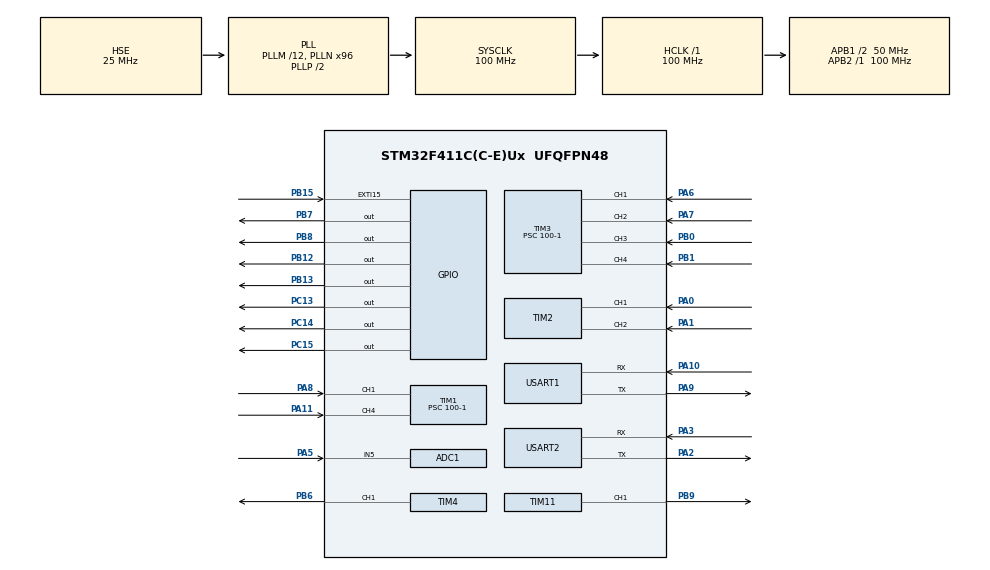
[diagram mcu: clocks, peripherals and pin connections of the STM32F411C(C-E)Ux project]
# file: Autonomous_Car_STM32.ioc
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ADC1.Channel-0\#ChannelRegularConversion=ADC_CHANNEL_5
ADC1.NbrOfConversion=1
ADC1.NbrOfConversionFlag=1
ADC1.Rank-0\#ChannelRegularConversion=1
ADC1.SamplingTime-0\#ChannelRegularConversion=ADC_SAMPLETIME_3CYCLES
ADC1.ScanConvMode=DISABLE
ADC1.master=1
Dma.Request0=USART1_RX
Dma.USART1_RX.0.Direction=DMA_PERIPH_TO_MEMORY
Dma.USART1_RX.0.FIFOMode=DMA_FIFOMODE_DISABLE
Dma.USART1_RX.0.Instance=DMA2_Stream2
Dma.USART1_RX.0.MemDataAlignment=DMA_MDATAALIGN_BYTE
Dma.USART1_RX.0.MemInc=DMA_MINC_ENABLE
Dma.USART1_RX.0.Mode=DMA_NORMAL
Dma.USART1_RX.0.PeriphDataAlignment=DMA_PDATAALIGN_BYTE
Dma.USART1_RX.0.PeriphInc=DMA_PINC_DISABLE
Dma.USART1_RX.0.Priority=DMA_PRIORITY_LOW
Mcu.Family=STM32F4
Mcu.Name=STM32F411C(C-E)Ux
Mcu.Package=UFQFPN48
NVIC.DMA2_Stream2_IRQn=true\:0\:0\:false\:false\:true\:false\:true
NVIC.PriorityGroup=NVIC_PRIORITYGROUP_4
NVIC.TIM1_CC_IRQn=true\:0\:0\:false\:false\:true\:true\:true
NVIC.TIM3_IRQn=true\:0\:0\:false\:false\:true\:true\:true
NVIC.TIM5_IRQn=true\:0\:0\:false\:false\:true\:true\:true
NVIC.USART1_IRQn=true\:0\:0\:false\:false\:true\:true\:true
PA0-WKUP.Signal=S_TIM2_CH1_ETR
PA1.Signal=S_TIM2_CH2
PA10.Mode=Asynchronous
PA10.Signal=USART1_RX
PA11.Signal=S_TIM1_CH4
PA13.Mode=Serial_Wire
PA13.Signal=SYS_JTMS-SWDIO
PA14.Mode=Serial_Wire
PA14.Signal=SYS_JTCK-SWCLK
PA2.Mode=Asynchronous
PA2.Signal=USART2_TX
PA3.Mode=Asynchronous
PA3.Signal=USART2_RX
PA4.Signal=ADCx_IN4
PA5.Signal=ADCx_IN5
PA6.Signal=S_TIM3_CH1
PA7.Signal=S_TIM3_CH2
PA8.Signal=S_TIM1_CH1
PA9.Mode=Asynchronous
PA9.Signal=USART1_TX
PB0.Signal=S_TIM3_CH3
PB1.Signal=S_TIM3_CH4
PB12.Signal=GPIO_Output
PB13.Signal=GPIO_Output
PB15.GPIO_PuPd=GPIO_PULLUP
PB15.Signal=GPXTI15
PB6.Signal=S_TIM4_CH1
PB7.Signal=GPIO_Output
PB8.Signal=GPIO_Output
PB9.Signal=S_TIM11_CH1
PC13-ANTI_TAMP.Signal=GPIO_Output
PC14-OSC32_IN.Signal=GPIO_Output
PC15-OSC32_OUT.Signal=GPIO_Output
PH0\ -\ OSC_IN.Mode=HSE-External-Oscillator
PH0\ -\ OSC_IN.Signal=RCC_OSC_IN
PH1\ -\ OSC_OUT.Mode=HSE-External-Oscillator
PH1\ -\ OSC_OUT.Signal=RCC_OSC_OUT
ProjectManager.HeapSize=0x200
ProjectManager.StackSize=0x400
ProjectManager.TargetToolchain=STM32CubeIDE
RCC.48MHZClocksFreq_Value=50000000
RCC.AHBFreq_Value=100000000
RCC.APB1CLKDivider=RCC_HCLK_DIV2
RCC.APB1Freq_Value=50000000
RCC.APB1TimFreq_Value=100000000
RCC.APB2Freq_Value=100000000
RCC.APB2TimFreq_Value=100000000
RCC.CortexFreq_Value=100000000
RCC.HCLKFreq_Value=100000000
RCC.HSE_VALUE=25000000
RCC.HSI_VALUE=16000000
RCC.LSE_VALUE=32768
RCC.PLLM=12
RCC.PLLN=96
RCC.PLLSourceVirtual=RCC_PLLSOURCE_HSE
RCC.SYSCLKFreq_VALUE=100000000
RCC.SYSCLKSource=RCC_SYSCLKSOURCE_PLLCLK
RCC.VCOOutputFreq_Value=200000000
SH.ADCx_IN4.0=ADC1_IN4
SH.ADCx_IN5.0=ADC1_IN5,IN5
SH.S_TIM11_CH1.0=TIM11_CH1,PWM Generation1 CH1
SH.S_TIM1_CH1.0=TIM1_CH1,Input_Capture1_from_TI1
SH.S_TIM1_CH4.0=TIM1_CH4,Input_Capture4_from_TI4
SH.S_TIM2_CH1_ETR.0=TIM2_CH1,Encoder_Interface
SH.S_TIM2_CH2.0=TIM2_CH2,Encoder_Interface
SH.S_TIM3_CH1.0=TIM3_CH1,Input_Capture1_from_TI1
SH.S_TIM3_CH2.0=TIM3_CH2,Input_Capture2_from_TI2
SH.S_TIM3_CH3.0=TIM3_CH3,Input_Capture3_from_TI3
SH.S_TIM3_CH4.0=TIM3_CH4,Input_Capture4_from_TI4
SH.S_TIM4_CH1.0=TIM4_CH1,PWM Generation1 CH1
TIM1.Channel-Input_Capture1_from_TI1=TIM_CHANNEL_1
TIM1.Channel-Input_Capture4_from_TI4=TIM_CHANNEL_4
TIM1.Prescaler=100-1
TIM11.Channel=TIM_CHANNEL_1
TIM11.Period=255
TIM11.Prescaler=1000-1
TIM2.EncoderMode=TIM_ENCODERMODE_TI12
TIM3.Channel-Input_Capture1_from_TI1=TIM_CHANNEL_1
TIM3.Channel-Input_Capture2_from_TI2=TIM_CHANNEL_2
TIM3.Channel-Input_Capture3_from_TI3=TIM_CHANNEL_3
TIM3.Channel-Input_Capture4_from_TI4=TIM_CHANNEL_4
TIM3.Prescaler=100-1
TIM4.Channel-PWM\ Generation1\ CH1=TIM_CHANNEL_1
TIM4.Period=20000-1
TIM4.Prescaler=100-1
TIM4.Pulse-PWM\ Generation1\ CH1=1500
TIM5.Channel-Output\ Compare1\ No\ Output=TIM_CHANNEL_1
TIM5.Prescaler=100-1
TIM5.Pulse-Output\ Compare1\ No\ Output=1000000
USART1.VirtualMode=VM_ASYNC
USART2.VirtualMode=VM_ASYNC
VP_TIM11_VS_ClockSourceINT.Mode=Enable_Timer
VP_TIM5_VS_no_output1.Mode=Output Compare1 No Output
board=custom

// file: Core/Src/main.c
/* USER CODE BEGIN Header */
/**
  ******************************************************************************
  * @file           : main.c
  * @brief          : Main program body
  ******************************************************************************
  * @attention
  *
  * <h2><center>&copy; Copyright (c) 2021 STMicroelectronics.
  * All rights reserved.</center></h2>
  *
  * This software component is licensed by ST under BSD 3-Clause license,
  * the "License"; You may not use this file except in compliance with the
  * License. You may obtain a copy of the License at:
  *                        opensource.org/licenses/BSD-3-Clause
  *
  ******************************************************************************
  */
/* USER CODE END Header */
#include "main.h"

/* USER CODE BEGIN Includes */
#include <string.h>
#include <stdio.h>
#include "stdio.h"
#include <stdlib.h>
#include <math.h>
/* USER CODE END Includes */

/* USER CODE BEGIN PD */
#define TRIG_A_PIN GPIO_PIN_12
#define TRIG_A_PORT GPIOB
#define TRIG_B_PIN GPIO_PIN_13
#define TRIG_B_PORT GPIOB
#define SW_PIN GPIO_PIN_15
#define SW_PORT GPIOB
#define ECHO_FR_PIN GPIO_PIN_0
#define ECHO_FR_PORT GPIOB
#define ECHO_MR_PIN GPIO_PIN_7
#define ECHO_MR_PORT GPIOA
#define ECHO_RR_PIN GPIO_PIN_6
#define ECHO_RR_PORT GPIOA
#define ECHO_FL_PIN GPIO_PIN_1
#define ECHO_FL_PORT GPIOB
#define ECHO_ML_PIN GPIO_PIN_8
#define ECHO_ML_PORT GPIOA
#define ECHO_RL_PIN GPIO_PIN_11
#define ECHO_RL_PORT GPIOA
#define SERVO_PIN GPIO_PIN_6
#define SERVO_PORT GPIOB
#define MOTOR_PWM_PIN GPIO_PIN_9
#define MOTOR_PWM_PORT GPIOB
#define DIR_A_PIN GPIO_PIN_8
#define DIR_A_PORT GPIOB
#define DIR_B_PIN GPIO_PIN_7
#define DIR_B_PORT GPIOB
#define V_BAT_PIN GPIO_PIN_5
#define V_BAT_PORT GPIOA
#define LED_1_PIN GPIO_PIN_14
#define LED_1_PORT GPIOC
#define LED_2_PIN GPIO_PIN_15
#define LED_2_PORT GPIOC
#define LED_3_PIN GPIO_PIN_13
#define LED_3_PORT GPIOC

#define UART_BUFFER_SIZE 255

#define SERVO_MIN 800
#define SERVO_MAX 2000

//according to motor datasheet 7260 = 4*1815 = 4*11*165 (ratio)
//empirically ~7470
//#define STEPS_PER_REV 1815*4
#define STEPS_PER_REV 7470

//empirically obtained
#define KP 0.15f
#define KI 0.0006f
#define KD 2.5f

#define MAX_SPEED 160.0f //[mmps]

#define TWO_PI 6.2831853f
#define R_WHEEL 32.0f
/* USER CODE END PD */

/* USER CODE BEGIN PM */
#define constrain(x, a, b) (((x) > (b)) ? (b) : ( (x) < (a) ? (a) : (x)))
//#define ITM_Port32(n) (*((volatile unsigned long *)(0xE0000000+4*n)))
/* USER CODE END PM */

ADC_HandleTypeDef hadc1;

TIM_HandleTypeDef htim1;
TIM_HandleTypeDef htim2;
TIM_HandleTypeDef htim3;
TIM_HandleTypeDef htim4;
TIM_HandleTypeDef htim5;
TIM_HandleTypeDef htim11;

UART_HandleTypeDef huart1;
UART_HandleTypeDef huart2;
DMA_HandleTypeDef hdma_usart1_rx;

/* USER CODE BEGIN PV */
typedef struct HC_SR04{
	char placement [3];
	TIM_HandleTypeDef *timer;
	//uint32_t channel;
	HAL_TIM_ActiveChannel active_ch;
	uint8_t tim_ch;
	uint8_t it_ch;
	uint16_t trig_pin;
	uint8_t now_responding;
	uint32_t rising_time;
	uint16_t distance;
	uint8_t done;
}HC_SR04;

HC_SR04 sensor[6];
HC_SR04* cur_sensor;
char str[100];

uint8_t UART1_rxBuffer[UART_BUFFER_SIZE] = {0};

int16_t curPWM = 0;
float target_speed = 0.0f;
float speed_limit = MAX_SPEED;
float target_pos = 0.0f;
uint8_t await_distance = 0;
char distance_measurement[200];
int prevEnc = 0;
float curSpeed = 0.0f;
float curRps = 0.0f;
float curPos = 0.0f;

//speed regulator vars
float kP = KP;
float kI = KI;
float kD = KD;
float err_integral = 0.0f;
float prev_err= 0.0f;
float integral_limit = 2.0f;
float err_thr = 0.0f;
int minPWM = 20;
//position regulator vars
uint8_t posRegulationEnabled = 0;
float kP_pos = 15.0f;
float err_thr_pos = 5.0f;

//quadratic func coefficients
float a = 0.003f;
float b = 0.82f;
float c = -0.6767f;

float x;

uint16_t loop_cnt = 0;

uint16_t servoPWM;

uint8_t xD=0;

//battery voltage vars
float bat_voltage = -1.0f;
//empirically obtained
float voltage_coef = 3.99f;

/* USER CODE END PV */

void SystemClock_Config(void);
static void MX_GPIO_Init(void);
static void MX_DMA_Init(void);
static void MX_ADC1_Init(void);
static void MX_TIM1_Init(void);
static void MX_TIM2_Init(void);
static void MX_TIM3_Init(void);
static void MX_TIM4_Init(void);
static void MX_TIM11_Init(void);
static void MX_USART1_UART_Init(void);
static void MX_USART2_UART_Init(void);
static void MX_TIM5_Init(void);

/* USER CODE BEGIN 0 */

void delayUs(uint16_t time);
void sendString(char* s);
void HCSR04_Read (uint8_t sensorID);
void readDistance();
void HAL_TIM_IC_CaptureCallback(TIM_HandleTypeDef *htim);
void sensorSetup();
void oneTurn();
void setDirection(int8_t dir);
float getCurrentSpeed(uint32_t dt_us);
void speedRegulator(uint32_t dt_us);
void positionRegulator();
void servoSetPWM(uint16_t value);
void servoSetAngle(int16_t angle);
float servoGetAngle();
void setTurnAngle(float wheel_angle);
void USER_UART_IRQHandler(UART_HandleTypeDef* huart);
void telemetryResponse();
void sensorResponse();
void configResponse();
void interpretMessage(char*);
void parseBuffer(uint8_t);
void USER_UART_IDLECallback(UART_HandleTypeDef *huart);
void loop100Hz();
void loop1Hz();
void getBatVoltage();
void HAL_TIM_OC_DelayElapsedCallback(TIM_HandleTypeDef *htim);

int _write(int file, char *ptr, int len);
int32_t MAP(int32_t au32_IN, int32_t au32_INmin, int32_t au32_INmax, int32_t au32_OUTmin, int32_t au32_OUTmax);

/* USER CODE END 0 */

int main(void)
{
  /* USER CODE BEGIN 1 */

	sensorSetup();
  /* USER CODE END 1 */

  /* MCU Configuration--------------------------------------------------------*/

  /* Reset of all peripherals, Initializes the Flash interface and the Systick. */
  HAL_Init();

  /* Configure the system clock */
  SystemClock_Config();

  /* USER CODE BEGIN SysInit */
  //ITM_Port32(31) = 1;
  /* USER CODE END SysInit */

  /* Initialize all configured peripherals */
  MX_GPIO_Init();
  MX_DMA_Init();
  MX_ADC1_Init();
  MX_TIM1_Init();
  MX_TIM2_Init();
  MX_TIM3_Init();
  MX_TIM4_Init();
  MX_TIM11_Init();
  MX_USART1_UART_Init();
  MX_USART2_UART_Init();
  MX_TIM5_Init();
  /* USER CODE BEGIN 2 */
  //ITM_Port32(31) = 2;

  for(int i=0 ; i<6; i++)
  {
	  HAL_TIM_IC_Start_IT(sensor[i].timer, sensor[i].tim_ch);
  }

  HAL_TIM_PWM_Start(&htim4, TIM_CHANNEL_1);
  HAL_TIM_PWM_Start(&htim11, TIM_CHANNEL_1);
  HAL_TIM_Encoder_Start(&htim2, TIM_CHANNEL_ALL);
  HAL_UART_Receive_DMA(&huart1, UART1_rxBuffer, UART_BUFFER_SIZE);
  HAL_TIM_OC_Start_IT(&htim5, TIM_CHANNEL_1);
  HAL_ADC_Start(&hadc1);
  /* USER CODE END 2 */

  /* Infinite loop */
  /* USER CODE BEGIN WHILE */
  while (1)
  {
	  //readDistance();
	  //oneTurn();
	  //sprintf(str,"%d\t%d\t%d\t%d\t%d\t%d\n",sensor[0].distance,sensor[1].distance,sensor[2].distance,sensor[3].distance,sensor[4].distance,sensor[5].distance);
	  //sprintf(str,"target mm/s: %f\tcurrent mm/s: %f\t current rps: %f\t current PWM: %d\n",target_speed,curSpeed,curRps,curPWM);
	  //sendString(str);

	  //TIME CONSUMING FUNCTIONS
		sensorResponse();

    /* USER CODE END WHILE */

  }
}

void SystemClock_Config(void)
{
  RCC_OscInitTypeDef RCC_OscInitStruct = {0};
  RCC_ClkInitTypeDef RCC_ClkInitStruct = {0};

  /** Configure the main internal regulator output voltage
  */
  __HAL_RCC_PWR_CLK_ENABLE();
  __HAL_PWR_VOLTAGESCALING_CONFIG(PWR_REGULATOR_VOLTAGE_SCALE1);
  /** Initializes the RCC Oscillators according to the specified parameters
  * in the RCC_OscInitTypeDef structure.
  */
  RCC_OscInitStruct.OscillatorType = RCC_OSCILLATORTYPE_HSE;
  RCC_OscInitStruct.HSEState = RCC_HSE_ON;
  RCC_OscInitStruct.PLL.PLLState = RCC_PLL_ON;
  RCC_OscInitStruct.PLL.PLLSource = RCC_PLLSOURCE_HSE;
  RCC_OscInitStruct.PLL.PLLM = 12;
  RCC_OscInitStruct.PLL.PLLN = 96;
  RCC_OscInitStruct.PLL.PLLP = RCC_PLLP_DIV2;
  RCC_OscInitStruct.PLL.PLLQ = 4;
  if (HAL_RCC_OscConfig(&RCC_OscInitStruct) != HAL_OK)
  {
    Error_Handler();
  }
  /** Initializes the CPU, AHB and APB buses clocks
  */
  RCC_ClkInitStruct.ClockType = RCC_CLOCKTYPE_HCLK|RCC_CLOCKTYPE_SYSCLK
                              |RCC_CLOCKTYPE_PCLK1|RCC_CLOCKTYPE_PCLK2;
  RCC_ClkInitStruct.SYSCLKSource = RCC_SYSCLKSOURCE_PLLCLK;
  RCC_ClkInitStruct.AHBCLKDivider = RCC_SYSCLK_DIV1;
  RCC_ClkInitStruct.APB1CLKDivider = RCC_HCLK_DIV2;
  RCC_ClkInitStruct.APB2CLKDivider = RCC_HCLK_DIV1;

  if (HAL_RCC_ClockConfig(&RCC_ClkInitStruct, FLASH_LATENCY_3) != HAL_OK)
  {
    Error_Handler();
  }
}

static void MX_ADC1_Init(void)
{

  ADC_ChannelConfTypeDef sConfig = {0};

  /** Configure the global features of the ADC (Clock, Resolution, Data Alignment and number of conversion)
  */
  hadc1.Instance = ADC1;
  hadc1.Init.ClockPrescaler = ADC_CLOCK_SYNC_PCLK_DIV4;
  hadc1.Init.Resolution = ADC_RESOLUTION_12B;
  hadc1.Init.ScanConvMode = DISABLE;
  hadc1.Init.ContinuousConvMode = DISABLE;
  hadc1.Init.DiscontinuousConvMode = DISABLE;
  hadc1.Init.ExternalTrigConvEdge = ADC_EXTERNALTRIGCONVEDGE_NONE;
  hadc1.Init.ExternalTrigConv = ADC_SOFTWARE_START;
  hadc1.Init.DataAlign = ADC_DATAALIGN_RIGHT;
  hadc1.Init.NbrOfConversion = 1;
  hadc1.Init.DMAContinuousRequests = DISABLE;
  hadc1.Init.EOCSelection = ADC_EOC_SINGLE_CONV;
  if (HAL_ADC_Init(&hadc1) != HAL_OK)
  {
    Error_Handler();
  }
  /** Configure for the selected ADC regular channel its corresponding rank in the sequencer and its sample time.
  */
  sConfig.Channel = ADC_CHANNEL_5;
  sConfig.Rank = 1;
  sConfig.SamplingTime = ADC_SAMPLETIME_3CYCLES;
  if (HAL_ADC_ConfigChannel(&hadc1, &sConfig) != HAL_OK)
  {
    Error_Handler();
  }

}

static void MX_TIM1_Init(void)
{

  TIM_MasterConfigTypeDef sMasterConfig = {0};
  TIM_IC_InitTypeDef sConfigIC = {0};

  htim1.Instance = TIM1;
  htim1.Init.Prescaler = 100-1;
  htim1.Init.CounterMode = TIM_COUNTERMODE_UP;
  htim1.Init.Period = 65535;
  htim1.Init.ClockDivision = TIM_CLOCKDIVISION_DIV1;
  htim1.Init.RepetitionCounter = 0;
  htim1.Init.AutoReloadPreload = TIM_AUTORELOAD_PRELOAD_DISABLE;
  if (HAL_TIM_IC_Init(&htim1) != HAL_OK)
  {
    Error_Handler();
  }
  sMasterConfig.MasterOutputTrigger = TIM_TRGO_RESET;
  sMasterConfig.MasterSlaveMode = TIM_MASTERSLAVEMODE_DISABLE;
  if (HAL_TIMEx_MasterConfigSynchronization(&htim1, &sMasterConfig) != HAL_OK)
  {
    Error_Handler();
  }
  sConfigIC.ICPolarity = TIM_INPUTCHANNELPOLARITY_RISING;
  sConfigIC.ICSelection = TIM_ICSELECTION_DIRECTTI;
  sConfigIC.ICPrescaler = TIM_ICPSC_DIV1;
  sConfigIC.ICFilter = 0;
  if (HAL_TIM_IC_ConfigChannel(&htim1, &sConfigIC, TIM_CHANNEL_1) != HAL_OK)
  {
    Error_Handler();
  }
  if (HAL_TIM_IC_ConfigChannel(&htim1, &sConfigIC, TIM_CHANNEL_4) != HAL_OK)
  {
    Error_Handler();
  }

}

static void MX_TIM2_Init(void)
{

  TIM_Encoder_InitTypeDef sConfig = {0};
  TIM_MasterConfigTypeDef sMasterConfig = {0};

  htim2.Instance = TIM2;
  htim2.Init.Prescaler = 0;
  htim2.Init.CounterMode = TIM_COUNTERMODE_UP;
  htim2.Init.Period = 4294967295;
  htim2.Init.ClockDivision = TIM_CLOCKDIVISION_DIV1;
  htim2.Init.AutoReloadPreload = TIM_AUTORELOAD_PRELOAD_DISABLE;
  sConfig.EncoderMode = TIM_ENCODERMODE_TI12;
  sConfig.IC1Polarity = TIM_ICPOLARITY_RISING;
  sConfig.IC1Selection = TIM_ICSELECTION_DIRECTTI;
  sConfig.IC1Prescaler = TIM_ICPSC_DIV1;
  sConfig.IC1Filter = 0;
  sConfig.IC2Polarity = TIM_ICPOLARITY_RISING;
  sConfig.IC2Selection = TIM_ICSELECTION_DIRECTTI;
  sConfig.IC2Prescaler = TIM_ICPSC_DIV1;
  sConfig.IC2Filter = 0;
  if (HAL_TIM_Encoder_Init(&htim2, &sConfig) != HAL_OK)
  {
    Error_Handler();
  }
  sMasterConfig.MasterOutputTrigger = TIM_TRGO_RESET;
  sMasterConfig.MasterSlaveMode = TIM_MASTERSLAVEMODE_DISABLE;
  if (HAL_TIMEx_MasterConfigSynchronization(&htim2, &sMasterConfig) != HAL_OK)
  {
    Error_Handler();
  }

}

static void MX_TIM3_Init(void)
{

  TIM_MasterConfigTypeDef sMasterConfig = {0};
  TIM_IC_InitTypeDef sConfigIC = {0};

  htim3.Instance = TIM3;
  htim3.Init.Prescaler = 100-1;
  htim3.Init.CounterMode = TIM_COUNTERMODE_UP;
  htim3.Init.Period = 65535;
  htim3.Init.ClockDivision = TIM_CLOCKDIVISION_DIV1;
  htim3.Init.AutoReloadPreload = TIM_AUTORELOAD_PRELOAD_DISABLE;
  if (HAL_TIM_IC_Init(&htim3) != HAL_OK)
  {
    Error_Handler();
  }
  sMasterConfig.MasterOutputTrigger = TIM_TRGO_RESET;
  sMasterConfig.MasterSlaveMode = TIM_MASTERSLAVEMODE_DISABLE;
  if (HAL_TIMEx_MasterConfigSynchronization(&htim3, &sMasterConfig) != HAL_OK)
  {
    Error_Handler();
  }
  sConfigIC.ICPolarity = TIM_INPUTCHANNELPOLARITY_RISING;
  sConfigIC.ICSelection = TIM_ICSELECTION_DIRECTTI;
  sConfigIC.ICPrescaler = TIM_ICPSC_DIV1;
  sConfigIC.ICFilter = 0;
  if (HAL_TIM_IC_ConfigChannel(&htim3, &sConfigIC, TIM_CHANNEL_1) != HAL_OK)
  {
    Error_Handler();
  }
  if (HAL_TIM_IC_ConfigChannel(&htim3, &sConfigIC, TIM_CHANNEL_2) != HAL_OK)
  {
    Error_Handler();
  }
  if (HAL_TIM_IC_ConfigChannel(&htim3, &sConfigIC, TIM_CHANNEL_3) != HAL_OK)
  {
    Error_Handler();
  }
  if (HAL_TIM_IC_ConfigChannel(&htim3, &sConfigIC, TIM_CHANNEL_4) != HAL_OK)
  {
    Error_Handler();
  }

}

static void MX_TIM4_Init(void)
{

  TIM_MasterConfigTypeDef sMasterConfig = {0};
  TIM_OC_InitTypeDef sConfigOC = {0};

  htim4.Instance = TIM4;
  htim4.Init.Prescaler = 100-1;
  htim4.Init.CounterMode = TIM_COUNTERMODE_UP;
  htim4.Init.Period = 20000-1;
  htim4.Init.ClockDivision = TIM_CLOCKDIVISION_DIV1;
  htim4.Init.AutoReloadPreload = TIM_AUTORELOAD_PRELOAD_DISABLE;
  if (HAL_TIM_PWM_Init(&htim4) != HAL_OK)
  {
    Error_Handler();
  }
  sMasterConfig.MasterOutputTrigger = TIM_TRGO_RESET;
  sMasterConfig.MasterSlaveMode = TIM_MASTERSLAVEMODE_DISABLE;
  if (HAL_TIMEx_MasterConfigSynchronization(&htim4, &sMasterConfig) != HAL_OK)
  {
    Error_Handler();
  }
  sConfigOC.OCMode = TIM_OCMODE_PWM1;
  sConfigOC.Pulse = 1500;
  sConfigOC.OCPolarity = TIM_OCPOLARITY_HIGH;
  sConfigOC.OCFastMode = TIM_OCFAST_DISABLE;
  if (HAL_TIM_PWM_ConfigChannel(&htim4, &sConfigOC, TIM_CHANNEL_1) != HAL_OK)
  {
    Error_Handler();
  }
  HAL_TIM_MspPostInit(&htim4);

}

static void MX_TIM5_Init(void)
{

  TIM_MasterConfigTypeDef sMasterConfig = {0};
  TIM_OC_InitTypeDef sConfigOC = {0};

  htim5.Instance = TIM5;
  htim5.Init.Prescaler = 100-1;
  htim5.Init.CounterMode = TIM_COUNTERMODE_UP;
  htim5.Init.Period = 4294967295;
  htim5.Init.ClockDivision = TIM_CLOCKDIVISION_DIV1;
  htim5.Init.AutoReloadPreload = TIM_AUTORELOAD_PRELOAD_DISABLE;
  if (HAL_TIM_OC_Init(&htim5) != HAL_OK)
  {
    Error_Handler();
  }
  sMasterConfig.MasterOutputTrigger = TIM_TRGO_RESET;
  sMasterConfig.MasterSlaveMode = TIM_MASTERSLAVEMODE_DISABLE;
  if (HAL_TIMEx_MasterConfigSynchronization(&htim5, &sMasterConfig) != HAL_OK)
  {
    Error_Handler();
  }
  sConfigOC.OCMode = TIM_OCMODE_TIMING;
  sConfigOC.Pulse = 1000000;
  sConfigOC.OCPolarity = TIM_OCPOLARITY_HIGH;
  sConfigOC.OCFastMode = TIM_OCFAST_DISABLE;
  if (HAL_TIM_OC_ConfigChannel(&htim5, &sConfigOC, TIM_CHANNEL_1) != HAL_OK)
  {
    Error_Handler();
  }

}

static void MX_TIM11_Init(void)
{

  TIM_OC_InitTypeDef sConfigOC = {0};

  htim11.Instance = TIM11;
  htim11.Init.Prescaler = 1000-1;
  htim11.Init.CounterMode = TIM_COUNTERMODE_UP;
  htim11.Init.Period = 255;
  htim11.Init.ClockDivision = TIM_CLOCKDIVISION_DIV1;
  htim11.Init.AutoReloadPreload = TIM_AUTORELOAD_PRELOAD_DISABLE;
  if (HAL_TIM_Base_Init(&htim11) != HAL_OK)
  {
    Error_Handler();
  }
  if (HAL_TIM_PWM_Init(&htim11) != HAL_OK)
  {
    Error_Handler();
  }
  sConfigOC.OCMode = TIM_OCMODE_PWM1;
  sConfigOC.Pulse = 0;
  sConfigOC.OCPolarity = TIM_OCPOLARITY_HIGH;
  sConfigOC.OCFastMode = TIM_OCFAST_DISABLE;
  if (HAL_TIM_PWM_ConfigChannel(&htim11, &sConfigOC, TIM_CHANNEL_1) != HAL_OK)
  {
    Error_Handler();
  }
  HAL_TIM_MspPostInit(&htim11);

}

static void MX_USART1_UART_Init(void)
{

  huart1.Instance = USART1;
  huart1.Init.BaudRate = 115200;
  huart1.Init.WordLength = UART_WORDLENGTH_8B;
  huart1.Init.StopBits = UART_STOPBITS_1;
  huart1.Init.Parity = UART_PARITY_NONE;
  huart1.Init.Mode = UART_MODE_TX_RX;
  huart1.Init.HwFlowCtl = UART_HWCONTROL_NONE;
  huart1.Init.OverSampling = UART_OVERSAMPLING_16;
  if (HAL_UART_Init(&huart1) != HAL_OK)
  {
    Error_Handler();
  }
  /* USER CODE BEGIN USART1_Init 2 */

  __HAL_UART_ENABLE_IT(&huart1,UART_IT_IDLE);
  /* USER CODE END USART1_Init 2 */

}

static void MX_USART2_UART_Init(void)
{

  huart2.Instance = USART2;
  huart2.Init.BaudRate = 115200;
  huart2.Init.WordLength = UART_WORDLENGTH_8B;
  huart2.Init.StopBits = UART_STOPBITS_1;
  huart2.Init.Parity = UART_PARITY_NONE;
  huart2.Init.Mode = UART_MODE_TX_RX;
  huart2.Init.HwFlowCtl = UART_HWCONTROL_NONE;
  huart2.Init.OverSampling = UART_OVERSAMPLING_16;
  if (HAL_UART_Init(&huart2) != HAL_OK)
  {
    Error_Handler();
  }

}

static void MX_DMA_Init(void)
{

  /* DMA controller clock enable */
  __HAL_RCC_DMA2_CLK_ENABLE();

  /* DMA interrupt init */
  /* DMA2_Stream2_IRQn interrupt configuration */
  HAL_NVIC_SetPriority(DMA2_Stream2_IRQn, 0, 0);
  HAL_NVIC_EnableIRQ(DMA2_Stream2_IRQn);

}

static void MX_GPIO_Init(void)
{
  GPIO_InitTypeDef GPIO_InitStruct = {0};

  /* GPIO Ports Clock Enable */
  __HAL_RCC_GPIOC_CLK_ENABLE();
  __HAL_RCC_GPIOH_CLK_ENABLE();
  __HAL_RCC_GPIOA_CLK_ENABLE();
  __HAL_RCC_GPIOB_CLK_ENABLE();

  /*Configure GPIO pin Output Level */
  HAL_GPIO_WritePin(GPIOC, GPIO_PIN_13|GPIO_PIN_14|GPIO_PIN_15, GPIO_PIN_RESET);

  /*Configure GPIO pin Output Level */
  HAL_GPIO_WritePin(GPIOB, GPIO_PIN_12|GPIO_PIN_13|GPIO_PIN_7|GPIO_PIN_8, GPIO_PIN_RESET);

  /*Configure GPIO pins : PC13 PC14 PC15 */
  GPIO_InitStruct.Pin = GPIO_PIN_13|GPIO_PIN_14|GPIO_PIN_15;
  GPIO_InitStruct.Mode = GPIO_MODE_OUTPUT_PP;
  GPIO_InitStruct.Pull = GPIO_NOPULL;
  GPIO_InitStruct.Speed = GPIO_SPEED_FREQ_LOW;
  HAL_GPIO_Init(GPIOC, &GPIO_InitStruct);

  /*Configure GPIO pins : PB12 PB13 PB7 PB8 */
  GPIO_InitStruct.Pin = GPIO_PIN_12|GPIO_PIN_13|GPIO_PIN_7|GPIO_PIN_8;
  GPIO_InitStruct.Mode = GPIO_MODE_OUTPUT_PP;
  GPIO_InitStruct.Pull = GPIO_NOPULL;
  GPIO_InitStruct.Speed = GPIO_SPEED_FREQ_LOW;
  HAL_GPIO_Init(GPIOB, &GPIO_InitStruct);

  /*Configure GPIO pin : PB15 */
  GPIO_InitStruct.Pin = GPIO_PIN_15;
  GPIO_InitStruct.Mode = GPIO_MODE_IT_RISING;
  GPIO_InitStruct.Pull = GPIO_PULLUP;
  HAL_GPIO_Init(GPIOB, &GPIO_InitStruct);

}

/* USER CODE BEGIN 4 */
void delayUs(uint16_t time)
{
	__HAL_TIM_SET_COUNTER(&htim1,0);
	while(__HAL_TIM_GET_COUNTER(&htim1)< time);
}

void sendString(char* s)
{
	HAL_UART_Transmit(&huart1, (uint8_t*)s, strlen(s), 1000);
}

void HCSR04_Read (uint8_t sensorID)
{
	//set which sensor is current
	cur_sensor = &sensor[sensorID];
	cur_sensor->done = 0;

	HAL_GPIO_WritePin(TRIG_A_PORT, cur_sensor->trig_pin, GPIO_PIN_SET);  // pull the TRIG pin HIGH
	delayUs(10);  // wait for 10 us
	HAL_GPIO_WritePin(TRIG_A_PORT, cur_sensor->trig_pin, GPIO_PIN_RESET);  // pull the TRIG pin low

	__HAL_TIM_ENABLE_IT(cur_sensor->timer, cur_sensor->it_ch);
	uint32_t start_time = HAL_GetTick();
	while(!(cur_sensor->done) && (HAL_GetTick()-start_time)<100){};
	//HAL_Delay(100);
	__HAL_TIM_DISABLE_IT(cur_sensor->timer, cur_sensor->it_ch);
	__HAL_TIM_SET_CAPTUREPOLARITY(cur_sensor->timer,cur_sensor->tim_ch,TIM_INPUTCHANNELPOLARITY_RISING);
	cur_sensor->now_responding = 0;
	cur_sensor->rising_time = 0;
}

void readDistance()
{
	//start input capture for every sensor -it does not make it enabled yet, it's for reset purposes
	for(int i=0 ; i<4; i++)
	{
	  HAL_TIM_IC_Start_IT(sensor[i].timer, sensor[i].tim_ch);

	}

	for(int i = 0; i<6; i++)
	{
		HCSR04_Read(i);
		HAL_Delay(10);
	}

	for(int i=0 ; i<4; i++)
	{
	  HAL_TIM_IC_Stop_IT(sensor[i].timer, sensor[i].tim_ch);
	}
}

void HAL_TIM_IC_CaptureCallback(TIM_HandleTypeDef *htim)
{
	//this solution is ok, it works
	//but i would prefer to make it work dynamically, depending on tim&channel it could obtain sensor id and calculate dist
	//and not depending on which sensor we are now expecting
	//it would be faster then

	if(!(htim == cur_sensor->timer && htim->Channel ==cur_sensor->active_ch)) return;
	//if Rising edge
	if(!cur_sensor->now_responding)
	{
		cur_sensor->rising_time = HAL_TIM_ReadCapturedValue(cur_sensor->timer, cur_sensor->tim_ch);
		__HAL_TIM_SET_CAPTUREPOLARITY(cur_sensor->timer, cur_sensor->tim_ch,TIM_INPUTCHANNELPOLARITY_FALLING);
		cur_sensor->now_responding = 1;
	}
	else
	{
		uint32_t fallingTime = HAL_TIM_ReadCapturedValue(cur_sensor->timer, cur_sensor->tim_ch);
		if(cur_sensor->rising_time<fallingTime)
		{
			cur_sensor->distance = (fallingTime - cur_sensor->rising_time)/58;
		}
		else{
			cur_sensor->distance = (cur_sensor->timer->Init.Period - cur_sensor->rising_time + fallingTime)/58;
		}

//		__HAL_TIM_SET_CAPTUREPOLARITY(cur_sensor->timer,cur_sensor->tim_ch,TIM_INPUTCHANNELPOLARITY_RISING);
//		cur_sensor->now_responding = 0;
//		__HAL_TIM_DISABLE_IT(cur_sensor->timer, cur_sensor->it_ch);
		cur_sensor->done = 1;
	}

}

void sensorSetup()
{
	strcpy(sensor[0].placement,"FR");
	sensor[0].timer = &htim3;
	sensor[0].active_ch = HAL_TIM_ACTIVE_CHANNEL_3;
	sensor[0].tim_ch = TIM_CHANNEL_3;
	sensor[0].it_ch = TIM_IT_CC3;
	sensor[0].trig_pin = TRIG_A_PIN;

	strcpy(sensor[1].placement,"MR");
	sensor[1].timer = &htim3;
	sensor[1].active_ch = HAL_TIM_ACTIVE_CHANNEL_2;
	sensor[1].tim_ch = TIM_CHANNEL_2;
	sensor[1].it_ch = TIM_IT_CC2;
	sensor[1].trig_pin = TRIG_A_PIN;

	strcpy(sensor[2].placement,"RR");
	sensor[2].timer = &htim3;
	sensor[2].active_ch = HAL_TIM_ACTIVE_CHANNEL_1;
	sensor[2].tim_ch = TIM_CHANNEL_1;
	sensor[2].it_ch = TIM_IT_CC1;
	sensor[2].trig_pin = TRIG_A_PIN;

	strcpy(sensor[3].placement,"FL");
	sensor[3].timer = &htim3;
	sensor[3].active_ch = HAL_TIM_ACTIVE_CHANNEL_4;
	sensor[3].tim_ch = TIM_CHANNEL_4;
	sensor[3].it_ch = TIM_IT_CC4;
	sensor[3].trig_pin = TRIG_B_PIN;

	strcpy(sensor[4].placement,"ML");
	sensor[4].timer = &htim1;
	sensor[4].active_ch = HAL_TIM_ACTIVE_CHANNEL_1;
	sensor[4].tim_ch = TIM_CHANNEL_1;
	sensor[4].it_ch = TIM_IT_CC1;
	sensor[4].trig_pin = TRIG_B_PIN;

	strcpy(sensor[5].placement,"RL");
	sensor[5].timer = &htim1;
	sensor[5].active_ch = HAL_TIM_ACTIVE_CHANNEL_4;
	sensor[5].tim_ch = TIM_CHANNEL_4;
	sensor[5].it_ch = TIM_IT_CC4;
	sensor[5].trig_pin = TRIG_B_PIN;
}

//int target = STEPS_PER_REV;

//int thr = 100;
//float P = 1.0f;
//void oneTurn()
//{
//	uint32_t start = TIM2->CNT;
//
//	int error = target - TIM2->CNT;
//
//	if(error>thr)
//	{
//		setDirection(1);
//	}
//	else if(error<-thr){
//		setDirection(-1);
//	}
//	else{
//		setDirection(0);
//	}
//	error = abs(error);
//	int PWM = constrain(P*error,0,255);
//	__HAL_TIM_SET_COMPARE(&htim11, TIM_CHANNEL_1,PWM);
////	while(abs(TIM2->CNT-start)<=STEPS_PER_REV)
////	{
////		__HAL_TIM_SET_COMPARE(&htim11, TIM_CHANNEL_1,50);
////	}
////	__HAL_TIM_SET_COMPARE(&htim11, TIM_CHANNEL_1,0);
//
//}

void setDirection(int8_t dir)
{
	if(dir>0)
	{
		//forward
		HAL_GPIO_WritePin(DIR_A_PORT, DIR_A_PIN, GPIO_PIN_SET);
		HAL_GPIO_WritePin(DIR_B_PORT, DIR_B_PIN, GPIO_PIN_RESET);
	}
	else if(dir<0)
	{
		//backward
		HAL_GPIO_WritePin(DIR_A_PORT, DIR_A_PIN, GPIO_PIN_RESET);
		HAL_GPIO_WritePin(DIR_B_PORT, DIR_B_PIN, GPIO_PIN_SET);
	}
	else
	{
		//stop
		HAL_GPIO_WritePin(DIR_A_PORT, DIR_A_PIN, GPIO_PIN_RESET);
		HAL_GPIO_WritePin(DIR_B_PORT, DIR_B_PIN, GPIO_PIN_RESET);
	}
}

float getCurrentSpeed(uint32_t dt_us)
{
	int currentEnc = TIM2->CNT;
	float rotpos = (int)(currentEnc)/(float)STEPS_PER_REV;
	float rps = ((int)(currentEnc - prevEnc))/((float)dt_us*0.000001f)/(float)STEPS_PER_REV;
	curRps = rps;
	prevEnc = currentEnc;
	//omega * 2*PI*r [mm/s]
	curSpeed = rps*TWO_PI*R_WHEEL;
	curPos = rotpos*TWO_PI*R_WHEEL;
	return rps*TWO_PI*R_WHEEL;
}

void speedRegulator(uint32_t dt_us)
{
	float current_speed = getCurrentSpeed(dt_us);
	float error = target_speed - current_speed;
	if(fabs(error)<err_thr)error = 0.0f;
	err_integral = constrain(err_integral+error,-integral_limit/kI,integral_limit/kI);
	float change = kP*error + kI*err_integral + kD * (error-prev_err);
	prev_err = error;

	int newPWM = curPWM + change;
	if(abs(newPWM)<minPWM)newPWM = 0.0f;
	curPWM = constrain(newPWM,-255,255);
	newPWM = constrain(newPWM,-255,255);
	if(newPWM>0.0f) setDirection(1);
	else if(newPWM<0.0f) setDirection(-1);
	newPWM = abs(newPWM);

	//set motor pwm 0-255
	__HAL_TIM_SET_COMPARE(&htim11, TIM_CHANNEL_1,newPWM);

}

void positionRegulator()
{
	float error = target_pos - curPos;
	if(fabs(error)<err_thr_pos){
		error = 0.0f;
		posRegulationEnabled = 0;
	}
	target_speed = constrain(error * kP_pos,-speed_limit, speed_limit);
}

void servoSetPWM(uint16_t value)
{
	value = constrain(value,SERVO_MIN,SERVO_MAX);
	servoPWM = value;
	__HAL_TIM_SET_COMPARE(&htim4,TIM_CHANNEL_1,value);
}

void servoSetAngle(int16_t angle)
{
	int pwm = MAP(angle, -90, 90, 585, 2415);
	servoSetPWM(pwm);
}

float servoGetAngle()
{
	return MAP(htim4.Instance->CCR1, 585, 2415, -90, 90);
}

void setTurnAngle(float wheel_angle)
{
	if(wheel_angle<(-b*b/(4*a)+c))wheel_angle = (-b*b/(4*a)+c);
	//if(wh>=(b/2*a))return sqrt((wheel_angle-c)/a + b*b/(4*a*a)) - b/(2*a);
	x = sqrt((wheel_angle-c)/a + b*b/(4*a*a)) - b/(2*a);
	servoSetAngle((int16_t)x);
}

float getTurnAngle()
{
	float x = servoGetAngle();
	return a*x*x + b*x + c;
}

//this is an UART interrupt
void USER_UART_IRQHandler(UART_HandleTypeDef* huart)
{
	//we check if it is from uart1
	if(huart1.Instance == USART1)
	{
		//we check if it is idle state interrupt (the transmission is no longer continued)
		if(__HAL_UART_GET_FLAG(huart, UART_FLAG_IDLE) != RESET)
		{
			__HAL_UART_CLEAR_IDLEFLAG(huart);
			//UART1 Idle IQR Detected
			//trigger callback function
			USER_UART_IDLECallback(huart);
		}
	}
}

void telemetryResponse()
{
	sprintf(str,"{\"telemetry\":{\"speed\":%.1f, \"angle\":%d, \"speed_limit\":%.1f,\"bat_vol\":%.1f, \"pv\":\"%s\", \"pos\":%.1f}}\n",curSpeed,(int16_t)getTurnAngle(),speed_limit,bat_voltage,posRegulationEnabled?"position":"speed",curPos);
	sendString(str);
}

void sensorResponse()
{
	if(!await_distance)return;
	uint8_t samples = await_distance;
	uint16_t dist_buf [6] = {0};
	while(await_distance)
	{
		readDistance();
		for(int i=0 ;i<6; i++)
		{
			dist_buf[i]+=sensor[i].distance;
		}
		await_distance--;
	}
	sprintf(str,"{\"distance\":[%d,%d,%d,%d,%d,%d]}\n",dist_buf[0]/samples,dist_buf[1]/samples,dist_buf[2]/samples,dist_buf[3]/samples,dist_buf[4]/samples,dist_buf[5]/samples);
	sendString(str);
}

void configResponse()
{
	sprintf(str,"{\"config\":{\"speed_kP\":%f, \"speed_kI\":%f, \"speed_kD\":%f,\"pos_kP\":%f, \"pos_kI\":%f, \"pos_kD\":%f}}\n",kP,kI,kD,kP_pos,0.0f,0.0f);
	sendString(str);
}

void interpretMessage(char* message)
{
	char command = message[0];
	float value = atof(message+1);
	switch(command)
	{
	//turn
	case 'T':
	{
		setTurnAngle(value);
		break;
	}
	//speed
	case 'S':
	{
		posRegulationEnabled = 0;
		target_speed = constrain(value,-speed_limit, speed_limit);
		break;
	}
	//position
	case 'P':
	{
		posRegulationEnabled = 1;
		target_pos = curPos + value;
		break;
	}
	//speed limit
	case 's':
	{
		if(value<=0.1f)speed_limit=MAX_SPEED;
		else
		{
			speed_limit = value;
			target_speed = constrain(target_speed,-speed_limit, speed_limit);
		}
		break;
	}
	//environment
	case 'E':
	{
		await_distance = (uint8_t)value ? (uint8_t)value : 1;
		break;
	}
	case '?':
	{
		telemetryResponse();
		break;
	}
	//speed PID rates
	case 'p':
	{
		kP = value;
		break;
	}
	case 'i':
	{
		kI = value;
		break;
	}
	case 'd':
	{
		kD = value;
		break;
	}
	case 'L':
	{
		//three bits - three leds
		HAL_GPIO_WritePin(LED_1_PORT, LED_1_PIN, ((uint8_t)value & 0b001));
		HAL_GPIO_WritePin(LED_2_PORT, LED_2_PIN, ((uint8_t)value & 0b010));
		HAL_GPIO_WritePin(LED_3_PORT, LED_3_PIN, !((uint8_t)value & 0b100));
		break;
	}
	case 'C':
		configResponse();
		break;
	default:
		break;
	}
}

//Parses message by message, splits on newline character
void parseBuffer(uint8_t length)
{
	uint8_t remaining_length = length;
	uint8_t* p = UART1_rxBuffer;
	while(remaining_length)
	{
		int i = 0;
		char message[100];
		memset(message,0,sizeof message);
		while( i < remaining_length && *p !='\n' )
		{
			message[i] = (char)*p;
			i++;
			p++;
		}
		remaining_length -= (i+1);
		message[i] = '\0';
		if(i>0)interpretMessage(message);
//        HAL_UART_Transmit(&huart2,(uint8_t*)message,i+1,0x200);
		p++;
	}
}

//uart idle state callback function
void USER_UART_IDLECallback(UART_HandleTypeDef *huart)
{
	//Stop this DMA transmission
    HAL_UART_DMAStop(huart);

    //Calculate the length of the received data
    uint8_t data_length  = UART_BUFFER_SIZE - __HAL_DMA_GET_COUNTER(&hdma_usart1_rx);

	//Test function: Print out the received data
//    HAL_UART_Transmit(&huart2,UART1_rxBuffer,data_length,0x200);
    parseBuffer(data_length);

	//Zero Receiving Buffer
    memset(UART1_rxBuffer,0,data_length);
    data_length = 0;

    //Restart to start DMA transmission of 255 bytes of data at a time
    HAL_UART_Receive_DMA(huart, (uint8_t*)UART1_rxBuffer, UART_BUFFER_SIZE);
}

void loop100Hz()
{
//	  sprintf(str,"%d\n",TIM5->CNT);
//	  sendString(str);
	if(posRegulationEnabled == 1)
	{
		positionRegulator();
	}

	speedRegulator(10000);

	 //sprintf(str,"target:%f\tcurrent: %f\terror:%f\n",target_speed,curSpeed,target_speed-curSpeed);
	 // sendString(str);
	//oneTurn();
	loop_cnt++;
	if(loop_cnt>=100)
	{
		loop1Hz();
		loop_cnt=0;
	}
}

void loop1Hz()
{
	getBatVoltage();
}

void getBatVoltage()
{
	uint16_t adc_res;
	if(HAL_ADC_PollForConversion(&hadc1, 10) == HAL_OK)
	{
		adc_res = HAL_ADC_GetValue(&hadc1);
		HAL_ADC_Start(&hadc1);
		//3.79 is a voltage divider multiplication
		bat_voltage = (float)adc_res * (3.3f)/4095.0f * voltage_coef;
	}
}

void HAL_TIM_OC_DelayElapsedCallback(TIM_HandleTypeDef *htim)
{
	//1Hz loop
	if(htim->Instance == TIM5 && htim->Channel == HAL_TIM_ACTIVE_CHANNEL_1)
	{
		__HAL_TIM_SET_COMPARE(htim, TIM_CHANNEL_1,TIM5->CNT+10000-1);
		loop100Hz();
	}
}

int _write(int file, char *ptr, int len)
{
	int DataIdx;

	for(DataIdx=0; DataIdx<len; DataIdx++)
	{
		ITM_SendChar(*ptr++);
	}
	return len;
}

int32_t MAP(int32_t au32_IN, int32_t au32_INmin, int32_t au32_INmax, int32_t au32_OUTmin, int32_t au32_OUTmax)
{
    return ((((au32_IN - au32_INmin)*(au32_OUTmax - au32_OUTmin))/(au32_INmax - au32_INmin)) + au32_OUTmin);
}

/* USER CODE END 4 */

void Error_Handler(void)
{
  __disable_irq();
  while (1)
  {
  }
}

/************************ (C) COPYRIGHT STMicroelectronics *****END OF FILE****/
